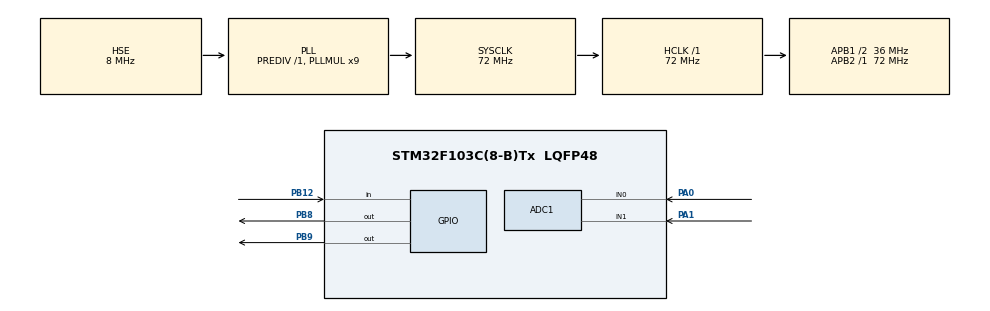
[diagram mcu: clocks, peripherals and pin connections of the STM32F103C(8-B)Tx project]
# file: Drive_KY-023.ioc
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ADC1.Channel-0\#ChannelRegularConversion=ADC_CHANNEL_0
ADC1.Channel-1\#ChannelRegularConversion=ADC_CHANNEL_1
ADC1.ContinuousConvMode=ENABLE
ADC1.EnableInjectedConversion=DISABLE
ADC1.InjNumberOfConversion=0
ADC1.NbrOfConversion=2
ADC1.NbrOfConversionFlag=1
ADC1.Rank-0\#ChannelRegularConversion=1
ADC1.Rank-1\#ChannelRegularConversion=2
ADC1.SamplingTime-0\#ChannelRegularConversion=ADC_SAMPLETIME_55CYCLES_5
ADC1.SamplingTime-1\#ChannelRegularConversion=ADC_SAMPLETIME_55CYCLES_5
ADC1.master=1
Mcu.Family=STM32F1
Mcu.Name=STM32F103C(8-B)Tx
Mcu.Package=LQFP48
NVIC.PriorityGroup=NVIC_PRIORITYGROUP_4
PA0-WKUP.Signal=ADCx_IN0
PA1.Signal=ADCx_IN1
PA13.Mode=Serial_Wire
PA13.Signal=SYS_JTMS-SWDIO
PA14.Mode=Serial_Wire
PA14.Signal=SYS_JTCK-SWCLK
PB12.GPIO_PuPd=GPIO_PULLUP
PB12.Signal=GPIO_Input
PB8.GPIO_ModeDefaultOutputPP=GPIO_MODE_OUTPUT_OD
PB8.GPIO_PuPd=GPIO_NOPULL
PB8.Signal=GPIO_Output
PB9.GPIO_ModeDefaultOutputPP=GPIO_MODE_OUTPUT_OD
PB9.GPIO_PuPd=GPIO_NOPULL
PB9.Signal=GPIO_Output
PD0-OSC_IN.Mode=HSE-External-Oscillator
PD0-OSC_IN.Signal=RCC_OSC_IN
PD1-OSC_OUT.Mode=HSE-External-Oscillator
PD1-OSC_OUT.Signal=RCC_OSC_OUT
ProjectManager.HeapSize=0x200
ProjectManager.StackSize=0x400
ProjectManager.TargetToolchain=STM32CubeIDE
RCC.ADCPresc=RCC_ADCPCLK2_DIV6
RCC.AHBFreq_Value=72000000
RCC.APB1CLKDivider=RCC_HCLK_DIV2
RCC.APB1Freq_Value=36000000
RCC.APB1TimFreq_Value=72000000
RCC.APB2Freq_Value=72000000
RCC.APB2TimFreq_Value=72000000
RCC.HCLKFreq_Value=72000000
RCC.PLLMUL=RCC_PLL_MUL9
RCC.PLLSourceVirtual=RCC_PLLSOURCE_HSE
RCC.SYSCLKFreq_VALUE=72000000
RCC.SYSCLKSource=RCC_SYSCLKSOURCE_PLLCLK
RCC.USBFreq_Value=72000000
SH.ADCx_IN0.0=ADC1_IN0,IN0
SH.ADCx_IN1.0=ADC1_IN1,IN1
board=custom

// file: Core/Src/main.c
/* USER CODE BEGIN Header */
/**
  ******************************************************************************
  * @file           : main.c
  * @brief          : Main program body
  ******************************************************************************
  * @attention
  *
  * Copyright (c) 2026 STMicroelectronics.
  * All rights reserved.
  *
  * This software is licensed under terms that can be found in the LICENSE file
  * in the root directory of this software component.
  * If no LICENSE file comes with this software, it is provided AS-IS.
  *
  ******************************************************************************
  */
/* USER CODE END Header */
#include "main.h"
#include "adc.h"
#include "gpio.h"

/* USER CODE BEGIN Includes */
#include "OLED.h"
#include "ky023.h"
/* USER CODE END Includes */

/* USER CODE BEGIN PD */
#define JOY_SAMPLE_PERIOD_MS       10U
#define OLED_REFRESH_PERIOD_MS     100U

/* USER CODE END PD */

/* USER CODE BEGIN PV */
static KY023_HandleTypeDef hky023;
static uint16_t g_joyX = 0;
static uint16_t g_joyY = 0;
static uint8_t g_keyPressed = 0;
static KY023_DirectionTypeDef g_direction = KY023_DIR_CENTER;

/* USER CODE END PV */

void SystemClock_Config(void);
/* USER CODE BEGIN PFP */
static void OLED_ShowJoystickState(uint16_t xValue,
                                   uint16_t yValue,
                                   uint8_t keyPressed,
                                   KY023_DirectionTypeDef direction);
static void OLED_ShowFixedWidthText(uint8_t line, uint8_t column, const char *text, uint8_t width);

/* USER CODE END PFP */

/* USER CODE BEGIN 0 */
static void OLED_ShowFixedWidthText(uint8_t line, uint8_t column, const char *text, uint8_t width)
{
  char buffer[11];
  uint8_t i;

  if (width > 10U)
  {
    width = 10U;
  }

  for (i = 0; i < width; i++)
  {
    buffer[i] = ' ';
  }
  buffer[width] = '\0';

  for (i = 0; (i < width) && (text[i] != '\0'); i++)
  {
    buffer[i] = text[i];
  }

  OLED_ShowString(line, column, buffer);
}

static void OLED_ShowJoystickState(uint16_t xValue,
                                   uint16_t yValue,
                                   uint8_t keyPressed,
                                   KY023_DirectionTypeDef direction)
{
  /* 将 ADC 值转换为电压显示（保留2位小数） */
  /* 电压 = ADC值 * 3.3 / 4095，放大100倍后取整 */
  uint16_t voltageX = (uint16_t)((uint32_t)xValue * 330 / 4095);
  uint16_t voltageY = (uint16_t)((uint32_t)yValue * 330 / 4095);

  /* 显示 X 轴电压：格式 "X.XX" */
  OLED_ShowNum(1, 3, voltageX / 100, 1);
  OLED_ShowString(1, 4, ".");
  OLED_ShowNum(1, 5, voltageX % 100, 2);

  /* 显示 Y 轴电压：格式 "X.XX" */
  OLED_ShowNum(1, 11, voltageY / 100, 1);
  OLED_ShowString(1, 12, ".");
  OLED_ShowNum(1, 13, voltageY % 100, 2);

  if (keyPressed != 0U)
  {
    OLED_ShowString(2, 4, "PRESSED ");
  }
  else
  {
    OLED_ShowString(2, 4, "RELEASED");
  }

  OLED_ShowString(3, 1, "DIR:");
  OLED_ShowFixedWidthText(3, 5, KY023_GetDirectionString(direction), 10U);
}

/* USER CODE END 0 */

int main(void)
{

  /* MCU Configuration--------------------------------------------------------*/

  /* Reset of all peripherals, Initializes the Flash interface and the Systick. */
  HAL_Init();

  /* Configure the system clock */
  SystemClock_Config();

  /* Initialize all configured peripherals */
  MX_GPIO_Init();
  MX_ADC1_Init();
  /* USER CODE BEGIN 2 */
  if (HAL_ADCEx_Calibration_Start(&hadc1) != HAL_OK)
  {
    Error_Handler();
  }
  KY023_Init(&hky023, &hadc1, GPIOB, GPIO_PIN_12);

  /* USER CODE END 2 */

  /* Infinite loop */
  /* USER CODE BEGIN WHILE */
  uint32_t lastSampleTick = 0;
  uint32_t lastDisplayTick = 0;

  OLED_Init();
  OLED_Clear();
  OLED_ShowString(1, 1, "X:");
  OLED_ShowString(1, 9, "Y:");
  OLED_ShowString(2, 1, "SW:");
  OLED_ShowString(3, 1, "DIR:");
  OLED_ShowString(1, 7, "V ");
  OLED_ShowString(1, 15, "V");

  while (1)
  {
    uint32_t currentTick = HAL_GetTick();

    if ((currentTick - lastSampleTick) >= JOY_SAMPLE_PERIOD_MS)
    {
      lastSampleTick = currentTick;
      if (KY023_ReadRaw(&hky023, &g_joyX, &g_joyY) != HAL_OK)
      {
        Error_Handler();
      }
      g_keyPressed = KY023_ReadKeyDebounced(&hky023);
      g_direction = KY023_GetDirection(g_joyX, g_joyY);
    }

    if ((currentTick - lastDisplayTick) >= OLED_REFRESH_PERIOD_MS)
    {
      lastDisplayTick = currentTick;
      OLED_ShowJoystickState(g_joyX, g_joyY, g_keyPressed, g_direction);
    }

    /* USER CODE END WHILE */

  }
}

void SystemClock_Config(void)
{
  RCC_OscInitTypeDef RCC_OscInitStruct = {0};
  RCC_ClkInitTypeDef RCC_ClkInitStruct = {0};
  RCC_PeriphCLKInitTypeDef PeriphClkInit = {0};

  /** Initializes the RCC Oscillators according to the specified parameters
  * in the RCC_OscInitTypeDef structure.
  */
  RCC_OscInitStruct.OscillatorType = RCC_OSCILLATORTYPE_HSE;
  RCC_OscInitStruct.HSEState = RCC_HSE_ON;
  RCC_OscInitStruct.HSEPredivValue = RCC_HSE_PREDIV_DIV1;
  RCC_OscInitStruct.HSIState = RCC_HSI_ON;
  RCC_OscInitStruct.PLL.PLLState = RCC_PLL_ON;
  RCC_OscInitStruct.PLL.PLLSource = RCC_PLLSOURCE_HSE;
  RCC_OscInitStruct.PLL.PLLMUL = RCC_PLL_MUL9;
  if (HAL_RCC_OscConfig(&RCC_OscInitStruct) != HAL_OK)
  {
    Error_Handler();
  }

  /** Initializes the CPU, AHB and APB buses clocks
  */
  RCC_ClkInitStruct.ClockType = RCC_CLOCKTYPE_HCLK|RCC_CLOCKTYPE_SYSCLK
                              |RCC_CLOCKTYPE_PCLK1|RCC_CLOCKTYPE_PCLK2;
  RCC_ClkInitStruct.SYSCLKSource = RCC_SYSCLKSOURCE_PLLCLK;
  RCC_ClkInitStruct.AHBCLKDivider = RCC_SYSCLK_DIV1;
  RCC_ClkInitStruct.APB1CLKDivider = RCC_HCLK_DIV2;
  RCC_ClkInitStruct.APB2CLKDivider = RCC_HCLK_DIV1;

  if (HAL_RCC_ClockConfig(&RCC_ClkInitStruct, FLASH_LATENCY_2) != HAL_OK)
  {
    Error_Handler();
  }
  PeriphClkInit.PeriphClockSelection = RCC_PERIPHCLK_ADC;
  PeriphClkInit.AdcClockSelection = RCC_ADCPCLK2_DIV6;
  if (HAL_RCCEx_PeriphCLKConfig(&PeriphClkInit) != HAL_OK)
  {
    Error_Handler();
  }
}

void Error_Handler(void)
{
  __disable_irq();
  while (1)
  {
  }
}
